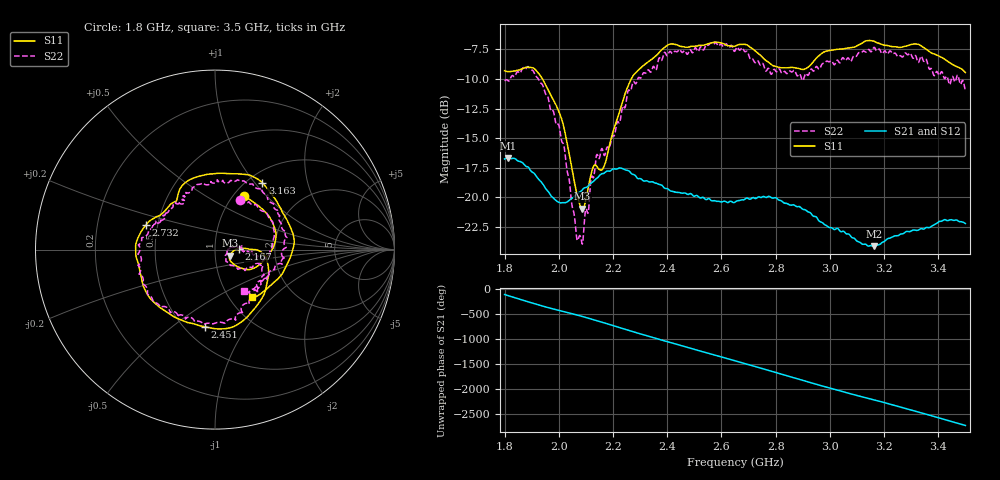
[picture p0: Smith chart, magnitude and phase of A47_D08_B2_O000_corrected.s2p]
! Created with skrf 1.9.0 (http://scikit-rf.org).
# Hz S RI R 50.0
!freq ReS11 ImS11 ReS21 ImS21 ReS12 ImS12 ReS22 ImS22
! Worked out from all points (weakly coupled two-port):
!   1601 points, 1.8 GHz to 3.5 GHz, reference 50 ohm
!   highest |S21| = -16.67 dB at 1.812 GHz (marker M1); lowest = -24.1 dB at 3.162 GHz (marker M2)
!   lowest |S11| = -21.0 dB at 2.087 GHz (marker M3), VSWR 1.20, Z = 58.9 - j3.97 ohm
!   |S11| at or under -10 dB: 1.94 GHz to 2.267 GHz (327.5 MHz wide, 15.6 % of centre)
!   |S22| runs from -23.9 to -6.9 dB; largest |S21 - S12| = 0.0028
!   S11 on the Smith chart (normalised r, x): 1.8 GHz: 1.12, +0.76; 2.167 GHz: 1.31, +0.01; 2.451 GHz: 0.62, -0.66; 2.732 GHz: 0.43, +0.14; 3.163 GHz: 1.17, +1.09; 3.5 GHz: 1.26, -0.76
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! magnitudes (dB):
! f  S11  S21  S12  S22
! 1.8 GHz  -9.3  -16.8  -16.8  -10.2
! 1.812 GHz  -9.4  -16.7  -16.7  -10.1
! 1.887 GHz  -9.0  -17.4  -17.5  -9.0
! 1.941 GHz  -10.1  -18.9  -18.9  -10.6
! 2.01 GHz  -13.4  -20.5  -20.4  -15.2
! 2.065 GHz  -19.5  -19.8  -19.7  -23.2
! 2.084 GHz  -20.9  -19.4  -19.4  -23.7
! 2.087 GHz  -21.0  -19.4  -19.4  -23.9
! 2.138 GHz  -17.3  -18.4  -18.4  -16.6
! 2.167 GHz  -17.4  -18.0  -18.0  -16.4
! 2.264 GHz  -10.1  -17.9  -17.9  -11.0
! 2.367 GHz  -7.8  -18.9  -18.8  -8.4
! 2.451 GHz  -7.3  -19.6  -19.6  -7.7
! 2.65 GHz  -7.2  -20.4  -20.4  -7.6
! 2.732 GHz  -7.8  -20.0  -20.1  -8.5
! 2.814 GHz  -9.0  -20.2  -20.1  -9.2
! 2.934 GHz  -8.7  -21.5  -21.4  -9.2
! 3.162 GHz  -6.8  -24.1  -24.1  -7.3
! 3.163 GHz  -6.8  -24.1  -24.1  -7.3
! 3.217 GHz  -7.2  -23.4  -23.4  -7.7
! 3.326 GHz  -7.1  -22.8  -22.7  -8.6
! 3.5 GHz  -9.5  -22.2  -22.2  -11.0
